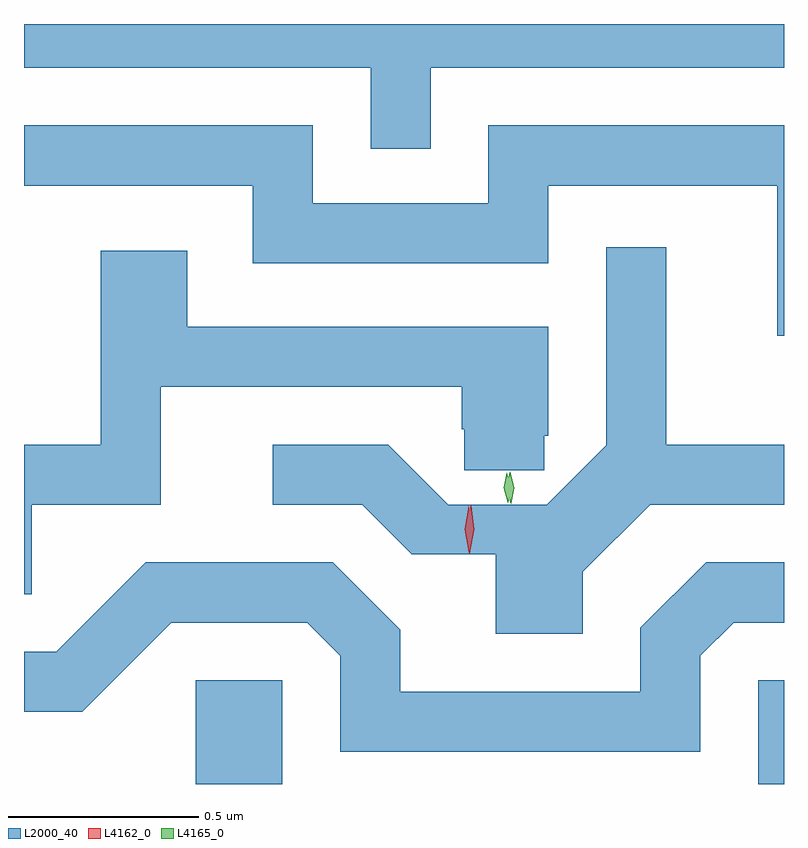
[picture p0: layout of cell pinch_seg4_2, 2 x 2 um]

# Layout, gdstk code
import gdstk
lib = gdstk.Library(unit=1e-6, precision=1e-09)
def R(c, l, rs):  # rectangles x0, y0, x1, y1
    for r in rs: c.add(gdstk.rectangle(r[:2], r[2:], *l))
def P(c, l, *ps):  # polygons
    for p in ps: c.add(gdstk.Polygon(p, *l))
L2000_40 = (2000, 40)
L4162_0 = (4162, 0)
L4165_0 = (4165, 0)

pinch_seg4_2 = lib.new_cell('pinch_seg4_2')
R(pinch_seg4_2, L2000_40, [(1863.051,1319.491,1863.279,1319.764), (1864.531,1319.491,1864.599,1319.764)])
P(pinch_seg4_2, L2000_40, [(1863.669,1321.376),(1864.599,1321.376),(1864.599,1321.491),(1862.599,1321.491),(1862.599,1321.376),(1863.511,1321.376),(1863.511,1321.163),(1863.669,1321.163)],
  [(1864.599,1321.224),(1863.821,1321.224),(1863.821,1321.019),(1863.359,1321.019),(1863.359,1321.224),(1862.599,1321.224),(1862.599,1321.066),(1863.201,1321.066),(1863.201,1320.861),(1863.979,1320.861),(1863.979,1321.066),(1864.581,1321.066),(1864.581,1320.671),(1864.599,1320.671)],
  [(1864.069,1320.049),(1864.247,1320.226),(1864.599,1320.226),(1864.599,1320.384),(1864.289,1320.384),(1864.289,1320.903),(1864.131,1320.903),(1864.131,1320.383),(1863.975,1320.226),(1863.715,1320.226),(1863.557,1320.384),(1863.253,1320.384),(1863.253,1320.226),(1863.489,1320.226),(1863.619,1320.096),(1863.841,1320.096),(1863.841,1319.886),(1864.069,1319.886)],
  [(1862.619,1320.226),(1862.959,1320.226),(1862.959,1320.536),(1863.751,1320.536),(1863.751,1320.424),(1863.757,1320.424),(1863.757,1320.317),(1863.968,1320.317),(1863.968,1320.407),(1863.978,1320.407),(1863.978,1320.694),(1863.029,1320.694),(1863.029,1320.894),(1862.801,1320.894),(1862.801,1320.384),(1862.599,1320.384),(1862.599,1319.991),(1862.619,1319.991)],
  [(1864.379,1319.829),(1864.467,1319.916),(1864.599,1319.916),(1864.599,1320.074),(1864.394,1320.074),(1864.221,1319.902),(1864.221,1319.734),(1863.589,1319.734),(1863.589,1319.897),(1863.412,1320.074),(1862.919,1320.074),(1862.684,1319.839),(1862.599,1319.839),(1862.599,1319.681),(1862.752,1319.681),(1862.987,1319.916),(1863.344,1319.916),(1863.431,1319.829),(1863.431,1319.576),(1864.379,1319.576)])
P(pinch_seg4_2, L4162_0, [(1863.771,1320.098),(1863.764,1320.162),(1863.775,1320.225),(1863.776,1320.226),(1863.776,1320.225),(1863.784,1320.161),(1863.772,1320.098),(1863.772,1320.098)],
  [(1863.769,1320.101),(1863.769,1320.102),(1863.759,1320.162),(1863.769,1320.222),(1863.769,1320.223),(1863.77,1320.222),(1863.779,1320.162),(1863.77,1320.102)])
P(pinch_seg4_2, L4165_0, [(1863.881,1320.229),(1863.88,1320.23),(1863.869,1320.271),(1863.877,1320.312),(1863.878,1320.313),(1863.878,1320.312),(1863.889,1320.271),(1863.881,1320.23)],
  [(1863.872,1320.231),(1863.872,1320.232),(1863.861,1320.27),(1863.869,1320.31),(1863.87,1320.31),(1863.87,1320.31),(1863.881,1320.271),(1863.873,1320.232)])

lib.write_gds('pinch_seg4_2.gds')
